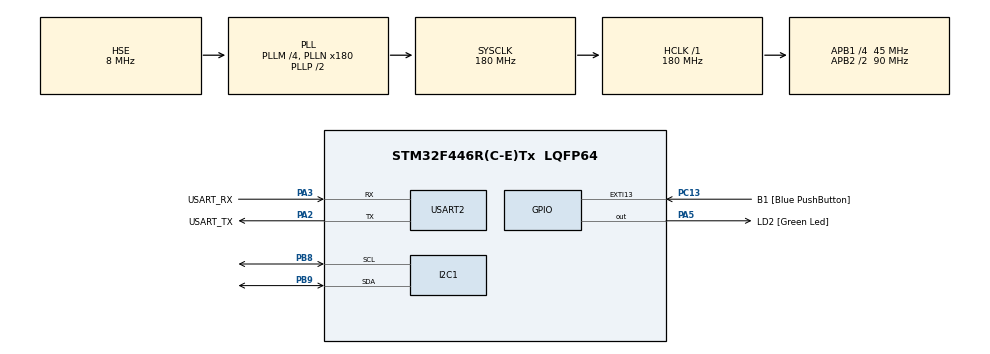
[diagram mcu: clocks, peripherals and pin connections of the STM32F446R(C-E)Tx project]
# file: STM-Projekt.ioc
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Mcu.Family=STM32F4
Mcu.Name=STM32F446R(C-E)Tx
Mcu.Package=LQFP64
NVIC.PriorityGroup=NVIC_PRIORITYGROUP_0
NVIC.RTC_Alarm_IRQn=true\:0\:0\:false\:false\:true\:true\:true
NVIC.TIM8_TRG_COM_TIM14_IRQn=true\:0\:0\:false\:false\:true\:true\:true
NVIC.USART2_IRQn=true\:0\:0\:false\:false\:true\:true\:true
PA13.GPIO_Label=TMS
PA13.Mode=Serial_Wire
PA13.Signal=SYS_JTMS-SWDIO
PA14.GPIO_Label=TCK
PA14.Mode=Serial_Wire
PA14.Signal=SYS_JTCK-SWCLK
PA2.GPIO_Label=USART_TX
PA2.Mode=Asynchronous
PA2.Signal=USART2_TX
PA3.GPIO_Label=USART_RX
PA3.Mode=Asynchronous
PA3.Signal=USART2_RX
PA5.GPIO_Label=LD2 [Green Led]
PA5.Signal=GPIO_Output
PB3.GPIO_Label=SWO
PB3.Signal=SYS_JTDO-SWO
PB8.Mode=I2C
PB8.Signal=I2C1_SCL
PB9.Mode=I2C
PB9.Signal=I2C1_SDA
PC13.GPIO_Label=B1 [Blue PushButton]
PC13.GPIO_ModeDefaultEXTI=GPIO_MODE_IT_FALLING
PC13.Signal=GPXTI13
PC14-OSC32_IN.Mode=LSE-External-Oscillator
PC14-OSC32_IN.Signal=RCC_OSC32_IN
PC15-OSC32_OUT.Mode=LSE-External-Oscillator
PC15-OSC32_OUT.Signal=RCC_OSC32_OUT
PH0-OSC_IN.Mode=HSE-External-Oscillator
PH0-OSC_IN.Signal=RCC_OSC_IN
PH1-OSC_OUT.Mode=HSE-External-Oscillator
PH1-OSC_OUT.Signal=RCC_OSC_OUT
ProjectManager.HeapSize=0x200
ProjectManager.StackSize=0x400
ProjectManager.TargetToolchain=STM32CubeIDE
RCC.48MHZClocksFreq_Value=84000000
RCC.AHBFreq_Value=180000000
RCC.APB1CLKDivider=RCC_HCLK_DIV4
RCC.APB1Freq_Value=45000000
RCC.APB1TimFreq_Value=90000000
RCC.APB2CLKDivider=RCC_HCLK_DIV2
RCC.APB2Freq_Value=90000000
RCC.APB2TimFreq_Value=180000000
RCC.CortexFreq_Value=180000000
RCC.FLatency-AdvancedSettings=FLASH_LATENCY_5
RCC.HCLKFreq_Value=180000000
RCC.HSE_VALUE=8000000
RCC.HSI_VALUE=16000000
RCC.PLLM=4
RCC.PLLN=180
RCC.PLLSourceVirtual=RCC_PLLSOURCE_HSE
RCC.SYSCLKFreq_VALUE=180000000
RCC.SYSCLKSource=RCC_SYSCLKSOURCE_PLLCLK
RCC.USBFreq_Value=180000000
RCC.VCOOutputFreq_Value=360000000
RTC.Alarm=RTC_ALARM_A
TIM14.Period=999
TIM14.Prescaler=17999
USART2.VirtualMode=VM_ASYNC
VP_RTC_VS_RTC_Activate.Mode=RTC_Enabled
VP_RTC_VS_RTC_Alarm_A_Intern.Mode=Alarm A
VP_RTC_VS_RTC_Calendar.Mode=RTC_Calendar
VP_TIM14_VS_ClockSourceINT.Mode=Enable_Timer
board=NUCLEO-F446RE

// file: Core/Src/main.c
/* USER CODE BEGIN Header */
/**
  ******************************************************************************
  * @file           : main.c
  * @brief          : Main program body
  ******************************************************************************
  * @attention
  *
  * <h2><center>&copy; Copyright (c) 2020 STMicroelectronics.
  * All rights reserved.</center></h2>
  *
  * This software component is licensed by ST under BSD 3-Clause license,
  * the "License"; You may not use this file except in compliance with the
  * License. You may obtain a copy of the License at:
  *                        opensource.org/licenses/BSD-3-Clause
  *
  ******************************************************************************
  */
/* USER CODE END Header */

#include "main.h"

/* USER CODE BEGIN Includes */
#include "lcd_i2c_hd44780.h"
#include "stdarg.h"
#include "string.h"
#include <ctype.h>
/* USER CODE END Includes */

/* USER CODE BEGIN PD */
//---------------USART RX-----------------//
#define BUFF_SIZE_RX 384
//---------------USART TX-----------------//
#define BUFF_SIZE_TX 128
//---------------FRAME-----------------//
#define FRAME_START 0x00
#define FRAME_DEST 0x01
#define FRAME_SRC 0x02
#define FRAME_CMD 0x03
#define FRAME_LEN1 0x04
#define FRAME_LEN2 0x05
#define FRAME_DATA 0x06
#define FRAME_STOP 0x07
//---------------FRAME ERRORS-----------------//
#define FRAME_ERR_DEST 0x08
#define FRAME_ERR_SRC 0x09
#define FRAME_ERR_CMD 0x10
#define FRAME_ERR_LEN 0x11
#define FRAME_ERR_END 0x12
#define FRAME_ERR_DATA 0x14
#define FRAME_VALID 0x13
//---------------FRAME SIZE-----------------//
#define FRAME_DEST_SIZE 3
#define FRAME_SRC_SIZE 3
#define FRAME_CMD_SIZE 3
#define FRAME_DATA_SIZE 256
//---------------FRAME CHARS-----------------//
#define FRAME_SIGN_START 0x24
#define FRAME_SING_STOP 0x26

char answerMessage[BUFF_SIZE_RX];
/* USER CODE END PD */

I2C_HandleTypeDef hi2c1;

RTC_HandleTypeDef hrtc;

TIM_HandleTypeDef htim14;

UART_HandleTypeDef huart2;

/* USER CODE BEGIN PV */
//---------------USART RX-----------------//
uint8_t BUFFRX[BUFF_SIZE_RX];
volatile uint8_t Rxempty = 0;
volatile uint8_t Rxbusy = 0;
//---------------USART TX-----------------//
uint8_t BUFFTX[BUFF_SIZE_TX];
volatile uint8_t Txempty = 0;
volatile uint8_t Txbusy = 0;
//---------------FRAME-----------------//
uint8_t frameDest[FRAME_DEST_SIZE];
uint8_t frameSrc[FRAME_SRC_SIZE];
uint8_t frameCmd[FRAME_CMD_SIZE];
uint8_t frameLen1;
uint8_t frameLen2;
uint8_t frameTotalLen;
uint8_t frameData[FRAME_DATA_SIZE];
uint8_t frameFlag;
uint8_t wordLen = 0;

//---------------FRAME ITERATORS-----------------//
uint8_t dataIterator = 0;
uint8_t err_number = 0;
uint8_t cmd_number = 0;

/* Private variables ---------------------------------------------------------*/
char time[10];
char date[10];
uint8_t hours = 0x20;
uint8_t minutes = 0x20;
uint8_t seconds = 0x20;
uint8_t day = 0x20;
uint8_t year = 0x20;
uint8_t month = 0x02;
uint8_t alarm =0;

/* USER CODE END PV */

void SystemClock_Config(void);
static void MX_GPIO_Init(void);
static void MX_USART2_UART_Init(void);
static void MX_I2C1_Init(void);
static void MX_RTC_Init(void);
static void MX_TIM14_Init(void);
/* USER CODE BEGIN PFP */
//---------------USARTRX-----------------//
void HAL_UART_RxCpltCallback(UART_HandleTypeDef *huart){
	if(huart -> Instance == USART2){
		Rxempty++;
		if(Rxempty >= BUFF_SIZE_RX){
			Rxempty = 0;
		}
		HAL_UART_Receive_IT(&huart2, &BUFFRX[Rxempty], 1);
	}
}
//---------------USARTTX-----------------//
void HAL_UART_TxCpltCallback(UART_HandleTypeDef *huart){
	if(Txempty != Txbusy){
		uint8_t tmp = BUFFTX[Txbusy];
		Txbusy++;
		if(Txbusy >= BUFF_SIZE_TX){
			Txbusy = 0;
		}
		HAL_UART_Transmit_IT(&huart2, &tmp, 1);
	}
}

void SendData(char* format, ...){

	char TAB_TMP[BUFF_SIZE_TX];
	int idx;
	idx = Txempty;

	va_list arglist;
	va_start(arglist, format);
	vsiprintf(TAB_TMP, format, arglist);
	va_end(arglist);

	for(int i = 0; i < strlen(TAB_TMP); i++){
		BUFFTX[idx] = TAB_TMP[i];
		idx++;
		if(idx >= BUFF_SIZE_TX){
			idx = 0;
		}
	}

	__disable_irq();

	if((Txempty == Txbusy) && (__HAL_UART_GET_FLAG(&huart2, UART_FLAG_TXE) == SET)){
		Txempty = idx;
		HAL_UART_Transmit_IT(&huart2, &BUFFTX[Txbusy], 1);
		Txbusy++;
		if(Txbusy >= BUFF_SIZE_TX){
			Txbusy = 0;
		}
	}else{
		Txempty = idx;
	}

	__enable_irq();
}

//---------------FUNKCJE RAMKI-----------------//
uint8_t convertToDec(char ascii){
	if(ascii >= 0x41 && ascii <= 0x46){
		return ascii - 'A' + 10;
	}else if(ascii >= 0x30 && ascii <= 0x39){
		return ascii - '0';
	}
	return -1;
}

void incrementRxBusy(){
	if(++Rxbusy > BUFF_SIZE_RX){
		Rxbusy = 0;
	}
}

uint8_t checkCapitalLetters(uint8_t letter){
	if(letter >= 0x41 && letter <= 0x5A){
		return 1;
	}else{
		return 0;
	}
}

uint8_t checkNumbers(uint8_t number){
	if(number >= 0x30 && number <= 0x39){
		return 1;
	}else{
		return 0;
	}
}

uint8_t checkCapitalLettersLen(uint8_t letter){
	if(letter >= 0x41 && letter <= 0x46){
		return 1;
	}else{
		return 0;
	}
}

uint8_t checkDEST(){
	if(!strcmp("STM", (char *)frameDest)){
		return 1;
	}else{
		return 0;
	}
}

uint8_t checkCommandExists(){
	if(!strcmp("TIM", (char *)frameCmd)){
		cmd_number = 1;
		return 1;
	}else if(!strcmp("DAT", (char *)frameCmd)){
		cmd_number = 2;
		return 1;
	}else if(!strcmp("ALA", (char *)frameCmd)){
		cmd_number = 3;
		return 1;
	}else if(!strcmp("CLR", (char *)frameCmd)){
		cmd_number = 4;
		return 1;
	}
	else{
		return 0;
	}
}

// ====================== ANALIZA RAMKI ======================
void analizeFrame(){
	char byte = BUFFRX[Rxbusy];
	if(byte == FRAME_SIGN_START){
		frameFlag = FRAME_DEST;
		incrementRxBusy();
		dataIterator = 0;
		return;
	}

	if(frameFlag==FRAME_DEST){
		if(dataIterator != FRAME_DEST_SIZE){
			if(checkCapitalLetters(byte) == 1){
				frameDest[dataIterator] = byte;
				dataIterator++;
			}else{
				frameFlag = FRAME_ERR_DEST;
				dataIterator = 0;
			}
			incrementRxBusy();
		}else{
			frameDest[dataIterator] = '\0';
			if(checkDEST() == 1){
				frameFlag = FRAME_SRC;
			}else{
				frameFlag = FRAME_ERR_DEST;
			}
			dataIterator = 0;
		}
	}
	else if(frameFlag==FRAME_SRC){
		if(dataIterator != FRAME_SRC_SIZE){
			if(checkCapitalLetters(byte) == 1){
				frameSrc[dataIterator] = byte;
				dataIterator++;
			}else{
				frameFlag = FRAME_ERR_SRC;
				dataIterator = 0;
			}
			incrementRxBusy();
		}else{
			frameSrc[dataIterator] = '\0';
			frameFlag = FRAME_CMD;
			dataIterator = 0;
		}
	}
	else if(frameFlag==FRAME_CMD){
		if(dataIterator != FRAME_CMD_SIZE){
			if(checkCapitalLetters(byte) == 1){
				frameCmd[dataIterator] = byte;
				dataIterator++;
			}else{
				frameFlag = FRAME_ERR_CMD;
				dataIterator = 0;
			}
			incrementRxBusy();
		}else{
			frameCmd[dataIterator] = '\0';
			if(checkCommandExists()){
				frameFlag = FRAME_LEN1;
			}else{
				frameFlag = FRAME_ERR_CMD;
			}
			dataIterator = 0;
		}
	}
	else if(frameFlag==FRAME_LEN1){
		if(checkCapitalLettersLen(byte) == 1 || checkNumbers(byte) == 1){
			frameLen1 = convertToDec(byte);
			if(frameLen1 == 0){
				frameFlag = FRAME_STOP;
			}else{
				frameFlag = FRAME_DATA;
			}
		}else{
			frameFlag = FRAME_ERR_LEN;
		}
		incrementRxBusy();
	}
	else if(frameFlag==FRAME_DATA){
		if(dataIterator != frameLen1){
			if(checkNumbers(byte) == 1){
				frameData[dataIterator] = byte;
				dataIterator++;
			}else{
				frameFlag = FRAME_ERR_DATA;
				dataIterator = 0;
			}
			incrementRxBusy();
		}else{
			frameData[dataIterator] = '\0';
			frameFlag = FRAME_STOP;
			dataIterator = 0;
		}
	}
	else if(frameFlag==FRAME_STOP)
		if(byte == FRAME_SING_STOP){
			frameFlag = FRAME_VALID;
		}else{
			frameFlag = FRAME_ERR_END;
		}
	else if(frameFlag==FRAME_START){
		incrementRxBusy();
	}
// ====================== WYWO�?YWANIE KOMEND ======================
	switch(frameFlag){
	case FRAME_VALID:
		switch(cmd_number){
		case 1:
			ExecuteTimeCmd(frameCmd, frameData);
			break;
		case 2:
			ExecuteDateCmd(frameCmd, frameData);
			break;
		case 3:
			ExecuteAlarmCmd(frameCmd, frameData);
			break;
		case 4:
			//ErrorWrongFrame();
			break;
		}
		cmd_number = 0;
		frameFlag = FRAME_START;
		break;
// ====================== ANALIZA B�?�?DÓW ======================
	case FRAME_ERR_DEST:
		sprintf(answerMessage, "$PCXSTM6ERRDST&");
		SendData(answerMessage);
		frameFlag = FRAME_START;
		break;
	case FRAME_ERR_CMD:
		sprintf(answerMessage, "$PCXSTM6ERRCMD&");
		SendData(answerMessage);
		frameFlag = FRAME_START;
		break;
	case FRAME_ERR_SRC:
		sprintf(answerMessage, "$PCXSTM6ERRSRC&");
		SendData(answerMessage);
		frameFlag = FRAME_START;
	case FRAME_ERR_LEN:
		sprintf(answerMessage, "$PCXSTM6ERRLEN&");
		SendData(answerMessage);
		frameFlag = FRAME_START;
	case FRAME_ERR_DATA:
		sprintf(answerMessage, "$PCXSTM7ERRDATA&");
		SendData(answerMessage);
		frameFlag = FRAME_START;
	case FRAME_ERR_END:
		sprintf(answerMessage, "$PCXSTM6ERREND&");
		SendData(answerMessage);
		frameFlag = FRAME_ERR_END;
	}
}
// ====================== POBIERANIE DANYCH======================
uint8_t GetTime(int idx, uint8_t *frameData) {
	uint8_t take;
	char dim[2];
	memcpy(dim, &frameData[idx], 2);
	take = atoi(dim);
	return take;
}

void ExecuteTimeCmd(char *frameCmd, uint8_t *frameData) {
	uint8_t hours = GetTime(0, frameData);
	uint8_t minutes = GetTime(2, frameData);
	uint8_t seconds = GetTime(4, frameData);
	if(hours<=24 && minutes<60 && seconds<60){
	if(hours>15){
	 hours = hours+6;
	}
	if (minutes>15 && minutes<=25){
		minutes=minutes+6;
			}
	else if (minutes>25 && minutes<=35){
			minutes=minutes+12;
			}
	else if (minutes>35 && minutes<=45){
			minutes=minutes+18;
			}
	else if (minutes>45 && minutes<=55){
			minutes=minutes+24;
			}
	else if (minutes>55 && minutes<=59){
			minutes=minutes+30;
			};

		if (seconds>15 && seconds<=25){
			seconds=seconds+6;
				}
		else if (seconds>25 && seconds<=35){
				seconds=seconds+12;
				}
		else if (seconds>35 && seconds<=45){
				seconds=seconds+18;
				}
		else if (seconds>45 && seconds<=55){
				seconds=seconds+24;
				}
		else if (seconds>55 && seconds<=59){
				seconds=seconds+30;
				};
		set_time(hours, minutes, seconds);
	}
	else{
		SendData("TIME ERROR");
	}
}
void ExecuteDateCmd(char *frameCmd, uint8_t *frameData) {
	uint8_t weekday = GetTime(0, frameData);
	uint8_t date = GetTime(2, frameData);
	uint8_t month = GetTime(4, frameData);
	uint8_t year = GetTime(6, frameData);
if(weekday<=7 && date <=31 && month<=12){
	if(weekday>15){
	 weekday = weekday+6;
	}
	if(date>15){
		date = date+6;
		}
	else if (date>15 && date<=25){
		date=date+6;
		}
	else if (date>25 && date<=35){
		date=date+12;
		}
	if(year>15){
		 year = year+6;
		}
	else if (year>15 && year<=25){
		year=year+6;
		}
	else if (year>25 && year<=35){
			year=year+12;
		};
	set_date(weekday, month, date, year);
}
else {
	SendData("DATE ERROR");
}
}
void ExecuteAlarmCmd(char *frameCmd, uint8_t *frameData) {
	uint8_t a_hours = GetTime(0, frameData);
	uint8_t a_minutes = GetTime(2, frameData);
	uint8_t a_seconds = GetTime(4, frameData);
	if(hours<=24 && minutes<60 && seconds<60){
	if(a_hours>15){
		 a_hours = a_hours+6;
		}
		if (a_minutes>15 && a_minutes<=25){
			a_minutes=a_minutes+6;
				}
		else if (a_minutes>25 && a_minutes<=35){
			a_minutes=a_minutes+12;
				}
		else if (a_minutes>35 && a_minutes<=45){
			a_minutes=a_minutes+18;
				}
		else if (a_minutes>45 && a_minutes<=55){
			a_minutes=a_minutes+24;
				}
		else if (a_minutes>55 && a_minutes<=59){
			a_minutes=a_minutes+30;
				};
		if (a_seconds>15 && a_seconds<=25){
				a_seconds=a_seconds+6;
					}
			else if (a_seconds>25 && a_seconds<=35){
				a_seconds=a_seconds+12;
					}
			else if (a_seconds>35 && a_seconds<=45){
				a_seconds=a_seconds+18;
					}
			else if (a_seconds>45 && a_seconds<=55){
				a_seconds=a_seconds+24;
					}
			else if (a_seconds>55 && a_seconds<=59){
				a_seconds=a_seconds+30;
					};
	set_alarm(a_hours, a_minutes, a_seconds);
}
	else {
		SendData("ALARM ERROR");
	}
}
/* USER CODE END PFP */

/* USER CODE BEGIN 0 */
void set_time (uint8_t hours, uint8_t minutes, uint8_t seconds){
	RTC_TimeTypeDef sTime;

	/** Initialize RTC and set the Time and Date
	  */
	  sTime.Hours = hours;
	  sTime.Minutes = minutes;
	  sTime.Seconds = seconds;
	  sTime.DayLightSaving = RTC_DAYLIGHTSAVING_NONE;
	  sTime.StoreOperation = RTC_STOREOPERATION_RESET;
	  if (HAL_RTC_SetTime(&hrtc, &sTime, RTC_FORMAT_BCD) != HAL_OK)
	  {
	    Error_Handler();
	  }

}
void set_date(uint8_t weekday, uint8_t month, uint8_t date, uint8_t year){
	RTC_DateTypeDef sDate;
	  sDate.WeekDay = weekday;
	  sDate.Month = month;
	  sDate.Date = date;
	  sDate.Year = year;

	  if (HAL_RTC_SetDate(&hrtc, &sDate, RTC_FORMAT_BCD) != HAL_OK)
	  {
	    Error_Handler();
	  }
}

void set_alarm (uint8_t a_hours, uint8_t a_minutes, uint8_t a_seconds)
{
	  RTC_AlarmTypeDef sAlarm;
	   /**Enable the Alarm A
	    */
	  sAlarm.AlarmTime.Hours = a_hours;
	  sAlarm.AlarmTime.Minutes = a_minutes;
	  sAlarm.AlarmTime.Seconds = a_seconds;
	  sAlarm.AlarmTime.SubSeconds = 0x0;
	  sAlarm.AlarmTime.DayLightSaving = RTC_DAYLIGHTSAVING_NONE;
	  sAlarm.AlarmTime.StoreOperation = RTC_STOREOPERATION_RESET;
	  sAlarm.AlarmMask = RTC_ALARMMASK_NONE;
	  sAlarm.AlarmSubSecondMask = RTC_ALARMSUBSECONDMASK_ALL;
	  sAlarm.AlarmDateWeekDaySel = RTC_ALARMDATEWEEKDAYSEL_DATE;
	  sAlarm.AlarmDateWeekDay = 0x10;
	  sAlarm.Alarm = RTC_ALARM_A;
	  if (HAL_RTC_SetAlarm(&hrtc, &sAlarm, RTC_FORMAT_BCD) != HAL_OK)
	    {
	      Error_Handler();
	    }
  /* USER CODE BEGIN RTC_Init 5 */

  /* USER CODE END RTC_Init 5 */
}

void get_time(void)
{
  RTC_DateTypeDef gDate;
  RTC_TimeTypeDef gTime;

  /* Get the RTC current Time */
  HAL_RTC_GetTime(&hrtc, &gTime, RTC_FORMAT_BIN);
  /* Get the RTC current Date */
  HAL_RTC_GetDate(&hrtc, &gDate, RTC_FORMAT_BIN);

  /* Display time Format: hh:mm:ss */
  sprintf((char*)time,"%02d:%02d:%02d",gTime.Hours, gTime.Minutes, gTime.Seconds);

  /* Display date Format: mm-dd-yy */
  sprintf((char*)date,"%02d-%02d-%2d",gDate.Date, gDate.Month, 2000 + gDate.Year);
}

void display_time (void)
{
	LCD_Set_Position(0,0);;
	LCD_Send_String (time);
	LCD_Set_Position(0,1);
	LCD_Send_String (date);
}

void HAL_RTC_AlarmAEventCallback(RTC_HandleTypeDef *hrtc)
{
	alarm = 1;
}

void to_do_on_alarm (void)
{
	HAL_GPIO_WritePin (GPIOA, GPIO_PIN_5, 1);
	LCD_Set_Position(0,0);;
	LCD_Send_String ("ALARM!!!");
	LCD_Set_Position(0,1);
	LCD_Send_String ("POBUDKA!!!");
	HAL_Delay (3000);

	for (int i=0;i<60;i++)
	{
		display_time();	}
}
/* USER CODE END 0 */

int main(void)
{

  /* MCU Configuration--------------------------------------------------------*/

  /* Reset of all peripherals, Initializes the Flash interface and the Systick. */
  HAL_Init();

  /* Configure the system clock */
  SystemClock_Config();

  /* Initialize all configured peripherals */
  MX_GPIO_Init();
  MX_USART2_UART_Init();
  MX_I2C1_Init();
  MX_RTC_Init();
  MX_TIM14_Init();
  /* USER CODE BEGIN 2 */
  HAL_UART_Receive_IT(&huart2, &BUFFRX[Rxempty], 1);
  LCD_Init();
      if(HAL_RTCEx_BKUPRead(&hrtc, RTC_BKP_DR1) != 0x32F2)
              {
                set_time(hours, minutes, seconds);
              }
  /* USER CODE END 2 */

  /* Infinite loop */
  /* USER CODE BEGIN WHILE */
  while (1)
  {
	  get_time();
	  display_time();
	  if (alarm)
	  	  {
	  		 to_do_on_alarm();
	  		 alarm =0;
	  	  }
	  if(Rxbusy != Rxempty){
	  		analizeFrame();
	  		  }
    /* USER CODE END WHILE */

  }
void SystemClock_Config(void)
{
  RCC_OscInitTypeDef RCC_OscInitStruct = {0};
  RCC_ClkInitTypeDef RCC_ClkInitStruct = {0};
  RCC_PeriphCLKInitTypeDef PeriphClkInitStruct = {0};

  /** Configure the main internal regulator output voltage
  */
  __HAL_RCC_PWR_CLK_ENABLE();
  __HAL_PWR_VOLTAGESCALING_CONFIG(PWR_REGULATOR_VOLTAGE_SCALE1);
  /** Initializes the CPU, AHB and APB busses clocks
  */
  RCC_OscInitStruct.OscillatorType = RCC_OSCILLATORTYPE_LSI|RCC_OSCILLATORTYPE_HSE;
  RCC_OscInitStruct.HSEState = RCC_HSE_ON;
  RCC_OscInitStruct.LSEState = RCC_LSE_ON;
  RCC_OscInitStruct.LSIState = RCC_LSI_ON;
  RCC_OscInitStruct.PLL.PLLState = RCC_PLL_ON;
  RCC_OscInitStruct.PLL.PLLSource = RCC_PLLSOURCE_HSE;
  RCC_OscInitStruct.PLL.PLLM = 4;
  RCC_OscInitStruct.PLL.PLLN = 180;
  RCC_OscInitStruct.PLL.PLLP = RCC_PLLP_DIV2;
  RCC_OscInitStruct.PLL.PLLQ = 2;
  RCC_OscInitStruct.PLL.PLLR = 2;
  if (HAL_RCC_OscConfig(&RCC_OscInitStruct) != HAL_OK)
  {
    Error_Handler();
  }
  /** Activate the Over-Drive mode
  */
  if (HAL_PWREx_EnableOverDrive() != HAL_OK)
  {
    Error_Handler();
  }
  /** Initializes the CPU, AHB and APB busses clocks
  */
  RCC_ClkInitStruct.ClockType = RCC_CLOCKTYPE_HCLK|RCC_CLOCKTYPE_SYSCLK
                              |RCC_CLOCKTYPE_PCLK1|RCC_CLOCKTYPE_PCLK2;
  RCC_ClkInitStruct.SYSCLKSource = RCC_SYSCLKSOURCE_PLLCLK;
  RCC_ClkInitStruct.AHBCLKDivider = RCC_SYSCLK_DIV1;
  RCC_ClkInitStruct.APB1CLKDivider = RCC_HCLK_DIV4;
  RCC_ClkInitStruct.APB2CLKDivider = RCC_HCLK_DIV2;

  if (HAL_RCC_ClockConfig(&RCC_ClkInitStruct, FLASH_LATENCY_5) != HAL_OK)
  {
    Error_Handler();
  }
  PeriphClkInitStruct.PeriphClockSelection = RCC_PERIPHCLK_RTC;
  PeriphClkInitStruct.RTCClockSelection = RCC_RTCCLKSOURCE_LSI;
  if (HAL_RCCEx_PeriphCLKConfig(&PeriphClkInitStruct) != HAL_OK)
  {
    Error_Handler();
  }
}

static void MX_I2C1_Init(void)
{

  hi2c1.Instance = I2C1;
  hi2c1.Init.ClockSpeed = 100000;
  hi2c1.Init.DutyCycle = I2C_DUTYCYCLE_2;
  hi2c1.Init.OwnAddress1 = 0;
  hi2c1.Init.AddressingMode = I2C_ADDRESSINGMODE_7BIT;
  hi2c1.Init.DualAddressMode = I2C_DUALADDRESS_DISABLE;
  hi2c1.Init.OwnAddress2 = 0;
  hi2c1.Init.GeneralCallMode = I2C_GENERALCALL_DISABLE;
  hi2c1.Init.NoStretchMode = I2C_NOSTRETCH_DISABLE;
  if (HAL_I2C_Init(&hi2c1) != HAL_OK)
  {
    Error_Handler();
  }

}

static void MX_RTC_Init(void)
{

  RTC_TimeTypeDef sTime = {0};
  RTC_DateTypeDef sDate = {0};
  RTC_AlarmTypeDef sAlarm = {0};

  /** Initialize RTC Only
  */
  hrtc.Instance = RTC;
  hrtc.Init.HourFormat = RTC_HOURFORMAT_24;
  hrtc.Init.AsynchPrediv = 127;
  hrtc.Init.SynchPrediv = 255;
  hrtc.Init.OutPut = RTC_OUTPUT_DISABLE;
  hrtc.Init.OutPutPolarity = RTC_OUTPUT_POLARITY_HIGH;
  hrtc.Init.OutPutType = RTC_OUTPUT_TYPE_OPENDRAIN;
  if (HAL_RTC_Init(&hrtc) != HAL_OK)
  {
    Error_Handler();
  }

  /** Initialize RTC and set the Time and Date
  */
  sTime.Hours = 0x0;
  sTime.Minutes = 0x0;
  sTime.Seconds = 0x0;
  sTime.DayLightSaving = RTC_DAYLIGHTSAVING_NONE;
  sTime.StoreOperation = RTC_STOREOPERATION_RESET;
  if (HAL_RTC_SetTime(&hrtc, &sTime, RTC_FORMAT_BCD) != HAL_OK)
  {
    Error_Handler();
  }
  sDate.WeekDay = RTC_WEEKDAY_MONDAY;
  sDate.Month = RTC_MONTH_JANUARY;
  sDate.Date = 0x1;
  sDate.Year = 0x0;

  if (HAL_RTC_SetDate(&hrtc, &sDate, RTC_FORMAT_BCD) != HAL_OK)
  {
    Error_Handler();
  }
  /** Enable the Alarm A
  */
  sAlarm.AlarmTime.Hours = 0x0;
  sAlarm.AlarmTime.Minutes = 0x0;
  sAlarm.AlarmTime.Seconds = 0x0;
  sAlarm.AlarmTime.SubSeconds = 0x0;
  sAlarm.AlarmTime.DayLightSaving = RTC_DAYLIGHTSAVING_NONE;
  sAlarm.AlarmTime.StoreOperation = RTC_STOREOPERATION_RESET;
  sAlarm.AlarmMask = RTC_ALARMMASK_NONE;
  sAlarm.AlarmSubSecondMask = RTC_ALARMSUBSECONDMASK_ALL;
  sAlarm.AlarmDateWeekDaySel = RTC_ALARMDATEWEEKDAYSEL_DATE;
  sAlarm.AlarmDateWeekDay = 0x1;
  sAlarm.Alarm = RTC_ALARM_A;
  if (HAL_RTC_SetAlarm_IT(&hrtc, &sAlarm, RTC_FORMAT_BCD) != HAL_OK)
  {
    Error_Handler();
  }

}

static void MX_TIM14_Init(void)
{

  htim14.Instance = TIM14;
  htim14.Init.Prescaler = 17999;
  htim14.Init.CounterMode = TIM_COUNTERMODE_UP;
  htim14.Init.Period = 999;
  htim14.Init.ClockDivision = TIM_CLOCKDIVISION_DIV1;
  htim14.Init.AutoReloadPreload = TIM_AUTORELOAD_PRELOAD_DISABLE;
  if (HAL_TIM_Base_Init(&htim14) != HAL_OK)
  {
    Error_Handler();
  }

}

static void MX_USART2_UART_Init(void)
{

  huart2.Instance = USART2;
  huart2.Init.BaudRate = 115200;
  huart2.Init.WordLength = UART_WORDLENGTH_8B;
  huart2.Init.StopBits = UART_STOPBITS_1;
  huart2.Init.Parity = UART_PARITY_NONE;
  huart2.Init.Mode = UART_MODE_TX_RX;
  huart2.Init.HwFlowCtl = UART_HWCONTROL_NONE;
  huart2.Init.OverSampling = UART_OVERSAMPLING_16;
  if (HAL_UART_Init(&huart2) != HAL_OK)
  {
    Error_Handler();
  }

}

static void MX_GPIO_Init(void)
{
  GPIO_InitTypeDef GPIO_InitStruct = {0};

  /* GPIO Ports Clock Enable */
  __HAL_RCC_GPIOC_CLK_ENABLE();
  __HAL_RCC_GPIOH_CLK_ENABLE();
  __HAL_RCC_GPIOA_CLK_ENABLE();
  __HAL_RCC_GPIOB_CLK_ENABLE();

  /*Configure GPIO pin Output Level */
  HAL_GPIO_WritePin(LD2_GPIO_Port, LD2_Pin, GPIO_PIN_RESET);

  /*Configure GPIO pin : B1_Pin */
  GPIO_InitStruct.Pin = B1_Pin;
  GPIO_InitStruct.Mode = GPIO_MODE_IT_FALLING;
  GPIO_InitStruct.Pull = GPIO_NOPULL;
  HAL_GPIO_Init(B1_GPIO_Port, &GPIO_InitStruct);

  /*Configure GPIO pin : LD2_Pin */
  GPIO_InitStruct.Pin = LD2_Pin;
  GPIO_InitStruct.Mode = GPIO_MODE_OUTPUT_PP;
  GPIO_InitStruct.Pull = GPIO_NOPULL;
  GPIO_InitStruct.Speed = GPIO_SPEED_FREQ_LOW;
  HAL_GPIO_Init(LD2_GPIO_Port, &GPIO_InitStruct);

}

void Error_Handler(void)
{
}

/************************ (C) COPYRIGHT STMicroelectronics *****END OF FILE****/
